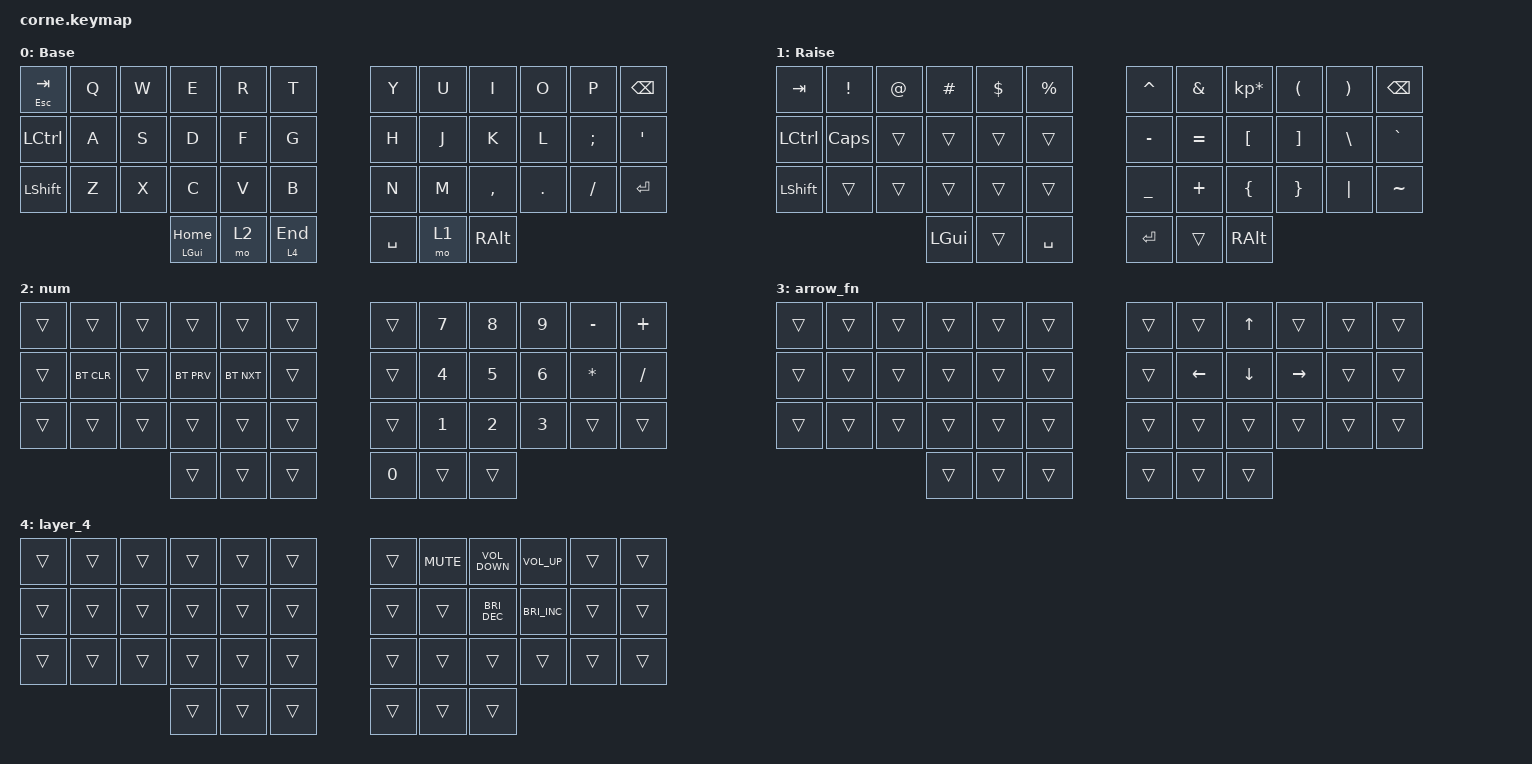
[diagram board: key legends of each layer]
/*
 * Copyright (c) 2020 The ZMK Contributors
 *
 * SPDX-License-Identifier: MIT
 */

#include <behaviors.dtsi>
#include <dt-bindings/zmk/bt.h>
#include <dt-bindings/zmk/keys.h>

/ {
    behaviors {
        hmr_layer: hmr_layer {
            compatible = "zmk,behavior-hold-tap";
            label = "HMR_LAYER";
            bindings = <&mo>, <&kp>;

            #binding-cells = <2>;
            tapping-term-ms = <200>;
        };

        hmr: hmr {
            compatible = "zmk,behavior-hold-tap";
            label = "HMR";
            bindings = <&kp>, <&kp>;

            #binding-cells = <2>;
            tapping-term-ms = <200>;
        };
    };

    combos {
        compatible = "zmk,combos";

        copy {
            bindings = <&kp K_COPY>;
            key-positions = <38 27>;
        };

        paste {
            bindings = <&kp K_PASTE>;
            key-positions = <28 38>;
        };

        cut {
            bindings = <&kp K_CUT>;
            key-positions = <38 26>;
        };
    };

    keymap {
        compatible = "zmk,keymap";

        default_layer {
            // -----------------------------------------------------------------------------------------
            // |  TAB |  Q  |  W  |  E  |  R  |  T  |   |  Y  |  U   |  I  |  O  |  P  | BKSP |
            // | CTRL |  A  |  S  |  D  |  F  |  G  |   |  H  |  J   |  K  |  L  |  ;  |  '   |
            // | SHFT |  Z  |  X  |  C  |  V  |  B  |   |  N  |  M   |  ,  |  .  |  /  | ESC  |
            //                    | GUI | LWR | SPC |   | ENT | RSE  | ALT |

            display-name = "Base";
            bindings = <
&hmr ESCAPE TAB  &kp Q  &kp W  &kp E               &kp R  &kp T               &kp Y      &kp U  &kp I      &kp O    &kp P     &kp BSPC
&kp LCTRL        &kp A  &kp S  &kp D               &kp F  &kp G               &kp H      &kp J  &kp K      &kp L    &kp SEMI  &kp SQT
&kp LSHFT        &kp Z  &kp X  &kp C               &kp V  &kp B               &kp N      &kp M  &kp COMMA  &kp DOT  &kp FSLH  &kp ENTER
                               &hmr LEFT_GUI HOME  &mo 2  &hmr_layer 4 END    &kp SPACE  &mo 1  &kp RALT
            >;
        };

        raise_layer {
            // -----------------------------------------------------------------------------------------
            // |  TAB |  !  |  @  |  #  |  $  |  %  |   |  ^  |  &  |  *  |  (  |  )  | BKSP |
            // | CTRL |     |     |     |     |     |   |  -  |  =  |  [  |  ]  |  \  |  `   |
            // | SHFT |     |     |     |     |     |   |  _  |  +  |  {  |  }  | "|" |  ~   |
            //                    | GUI |     | SPC |   | ENT |     | ALT |

            display-name = "Raise";
            bindings = <
&kp TAB    &kp EXCL  &kp AT  &kp HASH  &kp DLLR  &kp PRCNT    &kp CARET  &kp AMPS   &kp KP_MULTIPLY  &kp LPAR  &kp RPAR  &kp BSPC
&kp LCTRL  &kp CAPS  &trans  &trans    &trans    &trans       &kp MINUS  &kp EQUAL  &kp LBKT         &kp RBKT  &kp BSLH  &kp GRAVE
&kp LSHFT  &trans    &trans  &trans    &trans    &trans       &kp UNDER  &kp PLUS   &kp LBRC         &kp RBRC  &kp PIPE  &kp TILDE
                             &kp LGUI  &trans    &kp SPACE    &kp RET    &trans     &kp RALT
            >;
        };

        num {
            bindings = <
&trans  &trans      &trans  &trans      &trans      &trans    &trans  &kp N7        &kp N8        &kp N9        &kp MINUS  &kp PLUS
&trans  &bt BT_CLR  &trans  &bt BT_PRV  &bt BT_NXT  &trans    &trans  &kp NUMBER_4  &kp N5        &kp NUMBER_6  &kp ASTRK  &kp SLASH
&trans  &trans      &trans  &trans      &trans      &trans    &trans  &kp NUMBER_1  &kp NUMBER_2  &kp NUMBER_3  &trans     &trans
                            &trans      &trans      &trans    &kp N0  &trans        &trans
            >;
        };

        arrow_fn {
            bindings = <
&trans  &trans  &trans  &trans  &trans  &trans    &trans  &trans          &kp UP_ARROW  &trans     &trans  &trans
&trans  &trans  &trans  &trans  &trans  &trans    &trans  &kp LEFT_ARROW  &kp DOWN      &kp RIGHT  &trans  &trans
&trans  &trans  &trans  &trans  &trans  &trans    &trans  &trans          &trans        &trans     &trans  &trans
                        &trans  &trans  &trans    &trans  &trans          &trans
            >;
        };

        layer_4 {
            bindings = <
&trans  &trans  &trans  &trans  &trans  &trans    &trans  &kp K_MUTE  &kp C_VOLUME_DOWN  &kp C_VOLUME_UP       &trans  &trans
&trans  &trans  &trans  &trans  &trans  &trans    &trans  &trans      &kp C_BRI_DEC      &kp C_BRIGHTNESS_INC  &trans  &trans
&trans  &trans  &trans  &trans  &trans  &trans    &trans  &trans      &trans             &trans                &trans  &trans
                        &trans  &trans  &trans    &trans  &trans      &trans
            >;
        };
    };

    conditional_layers {
        compatible = "zmk,conditional-layers";

        arrow {
            if-layers = <1 2>;
            then-layer = <3>;
        };
    };
};
